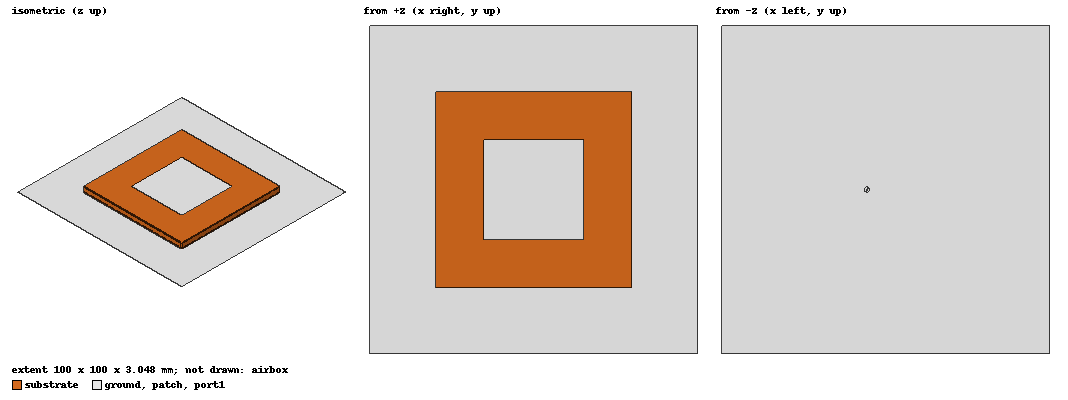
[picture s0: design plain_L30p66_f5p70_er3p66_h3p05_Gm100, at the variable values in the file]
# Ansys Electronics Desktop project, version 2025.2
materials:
  vacuum: permittivity=1
  substrate_design: permittivity=3.66 permeability=1 dielectric_loss_tangent=0.0031
  copper: permeability=0.999991 conductivity=58000000
  pec: conductivity=1e+30

design plain_L30p66_f5p70_er3p66_h3p05_Gm100 (HFSS, HFSS Modal Network, model units mm)
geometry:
  substrate [substrate_design] = box(corner=(-30mm, -30mm, 0mm), size=(60mm, 60mm, 3.048mm))
  ground = rectangle(corner=(-50mm, -50mm, 0mm), x_size=100mm, y_size=100mm)
  hole1 = circle(normal=Z, centre=(5.7mm, 0mm, 0mm), radius=0.8mm)
  ground.subtract(hole1)
  patch = polyline(z=3.048mm, xy in mm: (-15.33, 15.33) (15.33, 15.33) (15.33, -15.33) (-15.33, -15.33) (-15.33, 15.33), closed, covered)
  pin1 [pec] = cylinder(axis=Z, base_centre=(5.7mm, 0mm, 0mm), radius=0.25mm, height=3.048mm)
  pin1_1 = pin1.copy()
  substrate.subtract(pin1_1)
  port1 = circle(normal=Z, centre=(5.7mm, 0mm, 0mm), radius=0.8mm)
  inner1 = circle(normal=Z, centre=(5.7mm, 0mm, 0mm), radius=0.25mm)
  port1.subtract(inner1)
  airbox [vacuum] = box(corner=(-80.906439mm, -80.906439mm, -30.906439mm), size=(161.81288mm, 161.81288mm, 64.860878mm))
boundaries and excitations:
  Cu_sheets: Finite Conductivity Objects=[patch, ground] UseMaterial Material=copper Roughness=0mm IsInternal
  Rad__8JU7UY: Radiation Objects=airbox
  P1: Lumped Port Objects=port1 LumpedPortType=Modal Modes{Mode1{IntLine{(5.95, 0, 0) -> (6.5, 0, 0)} CharImp=Zpi RenormImp=50ohm}} Impedance=50ohm
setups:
  Setup1: HfssDriven Frequency=2.425GHz MaxDeltaS=0.01 MaximumPasses=20 MinimumPasses=1 MinimumConvergedPasses=2 PercentRefinement=30 BasisOrder=1 PortAccuracy=2 DrivenSolverType="Direct Solver"
    sweep S: 2.2GHz to 2.65GHz, 901 points; Type=Interpolating InterpTolerance=0.5 InterpMaxSolns=250 InterpUsePortImped=false PassivityErrorTolerance=0.0001
    sweep FF: 2.395GHz to 2.455GHz step 0.0025GHz; Type=Discrete SaveFields
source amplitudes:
  P1:1: 1W 0deg
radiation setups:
  ff: Infinite Sphere Theta=-180deg..180deg step 2deg Phi=0deg..90deg step 90deg
